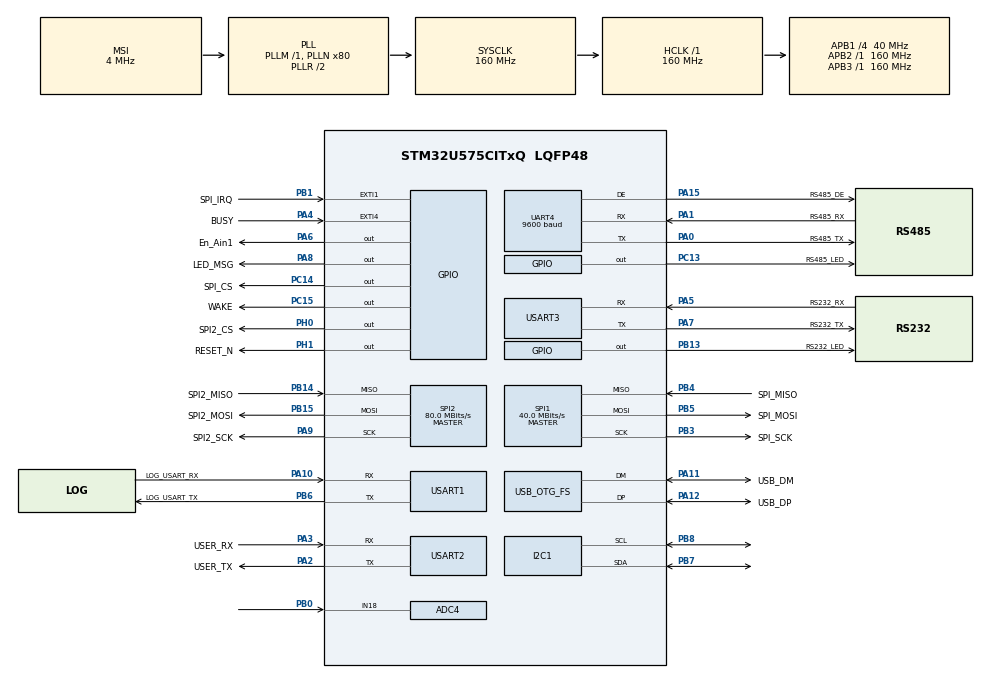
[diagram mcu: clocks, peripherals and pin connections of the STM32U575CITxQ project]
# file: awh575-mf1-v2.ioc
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ADC1.Channel-0\#ChannelRegularConversion=ADC_CHANNEL_TEMPSENSOR
ADC1.ContinuousConvMode=ENABLE
ADC1.EnableAnalogWatchDog1=false
ADC1.EnableRegularConversion=ENABLE
ADC1.MonitoredBy-0\#ChannelRegularConversion=__NULL
ADC1.NbrOfConversion=1
ADC1.NbrOfConversionFlag=1
ADC1.OffsetNumber-0\#ChannelRegularConversion=ADC_OFFSET_NONE
ADC1.Rank-0\#ChannelRegularConversion=1
ADC1.SamplingTime-0\#ChannelRegularConversion=ADC_SAMPLETIME_36CYCLES
ADC1.master=1
ADC4.ContinuousConvMode=ENABLE
ADC4.EOCSelection=ADC_EOC_SINGLE_CONV
ADC4.NbrOfConversion=1
ADC4.NbrOfConversionFlag=0
ADC4.SamplingTimeCommon1=ADC4_SAMPLETIME_39CYCLES_5
ADC4.SamplingTimeCommon2=ADC4_SAMPLETIME_39CYCLES_5
ADC4.SelectedChannel=ADC_CHANNEL_18
CORTEX_M33_NS.userName=CORTEX_M33
GPDMA1.DESTINC_GPDMACH14=DMA_DINC_INCREMENTED
GPDMA1.DIRECTION_GPDMACH15=DMA_MEMORY_TO_PERIPH
GPDMA1.IPHANDLE_GPDMACH14-SIMPLEREQUEST_GPDMACH14=__NULL
GPDMA1.IPHANDLE_GPDMACH15-SIMPLEREQUEST_GPDMACH15=__NULL
GPDMA1.REQUEST_GPDMACH14=GPDMA1_REQUEST_SPI1_RX
GPDMA1.REQUEST_GPDMACH15=GPDMA1_REQUEST_SPI1_TX
GPDMA1.SRCINC_GPDMACH15=DMA_SINC_INCREMENTED
I2C1.Timing=0x30909DEC
LPTIM1.ClockPrescaler=LPTIM_PRESCALER_DIV4
Mcu.Family=STM32U5
Mcu.Name=STM32U575CITxQ
Mcu.Package=LQFP48
NVIC.ADC1_IRQn=true\:10\:0\:true\:false\:true\:true\:true\:true
NVIC.EXTI1_IRQn=true\:15\:0\:true\:false\:false\:true\:true\:false
NVIC.EXTI4_IRQn=true\:15\:0\:true\:false\:false\:true\:true\:false
NVIC.GPDMA1_Channel14_IRQn=true\:15\:0\:true\:false\:false\:false\:true\:true
NVIC.I2C1_ER_IRQn=true\:0\:0\:false\:false\:true\:true\:true\:true
NVIC.I2C1_EV_IRQn=true\:0\:0\:false\:false\:true\:true\:true\:true
NVIC.LPTIM1_IRQn=true\:0\:0\:false\:false\:false\:true\:true\:true
NVIC.OTG_FS_IRQn=true\:0\:0\:false\:false\:true\:true\:false\:false
NVIC.PriorityGroup=NVIC_PRIORITYGROUP_4
NVIC.SPI1_IRQn=true\:0\:0\:false\:false\:false\:false\:true\:true
NVIC.SPI2_IRQn=true\:0\:0\:false\:false\:true\:true\:true\:true
NVIC.TIM1_UP_IRQn=true\:0\:0\:true\:false\:true\:false\:true\:true
NVIC.TimeBase=TIM1_UP_IRQn
NVIC.TimeBaseIP=TIM1
NVIC.UART4_IRQn=true\:6\:0\:true\:false\:true\:true\:true\:true
NVIC.USART1_IRQn=true\:15\:0\:true\:false\:false\:true\:true\:true
NVIC.USART2_IRQn=true\:10\:0\:true\:false\:true\:true\:true\:true
NVIC.USART3_IRQn=true\:6\:0\:true\:false\:true\:true\:true\:true
PA0.GPIO_Label=RS485_TX
PA0.Mode=Asynchronous
PA0.Signal=UART4_TX
PA1.GPIO_Label=RS485_RX
PA1.Mode=Asynchronous
PA1.Signal=UART4_RX
PA10.GPIO_Label=LOG_USART_RX
PA10.GPIO_PuPd=GPIO_PULLDOWN
PA10.GPIO_Speed=GPIO_SPEED_FREQ_VERY_HIGH
PA10.Mode=Asynchronous
PA10.Signal=USART1_RX
PA11.GPIO_Label=USB_DM
PA11.Mode=Device_Only
PA11.Signal=USB_OTG_FS_DM
PA12.GPIO_Label=USB_DP
PA12.Mode=Device_Only
PA12.Signal=USB_OTG_FS_DP
PA13\ (JTMS/SWDIO).GPIO_Label=SWDIO
PA13\ (JTMS/SWDIO).Mode=Serial_Wire
PA13\ (JTMS/SWDIO).Signal=DEBUG_JTMS-SWDIO
PA14\ (JTCK/SWCLK).GPIO_Label=SWCLK
PA14\ (JTCK/SWCLK).Mode=Serial_Wire
PA14\ (JTCK/SWCLK).Signal=DEBUG_JTCK-SWCLK
PA15\ (JTDI).GPIO_Label=RS485_DE
PA15\ (JTDI).Mode=Hardware Flow Control (RS485)
PA15\ (JTDI).Signal=UART4_DE
PA2.GPIO_Label=USER_TX
PA2.Mode=Asynchronous
PA2.Signal=USART2_TX
PA3.GPIO_Label=USER_RX
PA3.Mode=Asynchronous
PA3.Signal=USART2_RX
PA4.GPIO_Label=BUSY
PA4.GPIO_PuPd=GPIO_PULLDOWN
PA4.Signal=GPXTI4
PA5.GPIO_Label=RS232_RX
PA5.Mode=Asynchronous
PA5.Signal=USART3_RX
PA6.GPIO_Label=En_Ain1
PA6.Signal=GPIO_Output
PA7.GPIO_Label=RS232_TX
PA7.Mode=Asynchronous
PA7.Signal=USART3_TX
PA8.GPIO_Label=LED_MSG
PA8.GPIO_PuPd=GPIO_NOPULL
PA8.PinState=GPIO_PIN_SET
PA8.Signal=GPIO_Output
PA9.GPIO_Label=SPI2_SCK
PA9.Mode=Full_Duplex_Master
PA9.Signal=SPI2_SCK
PB0.Mode=IN18
PB0.Signal=ADC4_IN18
PB1.GPIO_Label=SPI_IRQ
PB1.GPIO_ModeDefaultEXTI=GPIO_MODE_IT_FALLING
PB1.Signal=GPXTI1
PB13.GPIO_Label=RS232_LED
PB13.PinState=GPIO_PIN_SET
PB13.Signal=GPIO_Output
PB14.GPIO_Label=SPI2_MISO
PB14.Mode=Full_Duplex_Master
PB14.Signal=SPI2_MISO
PB15.GPIO_Label=SPI2_MOSI
PB15.Mode=Full_Duplex_Master
PB15.Signal=SPI2_MOSI
PB3\ (JTDO/TRACESWO).GPIO_Label=SPI_SCK
PB3\ (JTDO/TRACESWO).GPIO_Speed=GPIO_SPEED_FREQ_VERY_HIGH
PB3\ (JTDO/TRACESWO).Mode=Full_Duplex_Master
PB3\ (JTDO/TRACESWO).Signal=SPI1_SCK
PB4\ (NJTRST).GPIO_Label=SPI_MISO
PB4\ (NJTRST).GPIO_PuPd=GPIO_NOPULL
PB4\ (NJTRST).GPIO_Speed=GPIO_SPEED_FREQ_VERY_HIGH
PB4\ (NJTRST).Mode=Full_Duplex_Master
PB4\ (NJTRST).Signal=SPI1_MISO
PB5.GPIO_Label=SPI_MOSI
PB5.GPIO_Speed=GPIO_SPEED_FREQ_VERY_HIGH
PB5.Mode=Full_Duplex_Master
PB5.Signal=SPI1_MOSI
PB6.GPIO_FM6=__NULL
PB6.GPIO_Label=LOG_USART_TX
PB6.GPIO_PuPd=GPIO_PULLDOWN
PB6.GPIO_Speed=GPIO_SPEED_FREQ_VERY_HIGH
PB6.Mode=Asynchronous
PB6.Signal=USART1_TX
PB7.Mode=I2C
PB7.Signal=I2C1_SDA
PB8.Mode=I2C
PB8.Signal=I2C1_SCL
PC13.GPIO_Label=RS485_LED
PC13.PinState=GPIO_PIN_SET
PC13.Signal=GPIO_Output
PC14-OSC32_IN\ (PC14).GPIO_Label=SPI_CS
PC14-OSC32_IN\ (PC14).Signal=GPIO_Output
PC15-OSC32_OUT\ (PC15).GPIO_Label=WAKE
PC15-OSC32_OUT\ (PC15).Signal=GPIO_Output
PH0-OSC_IN\ (PH0).GPIO_Label=SPI2_CS
PH0-OSC_IN\ (PH0).Signal=GPIO_Output
PH1-OSC_OUT\ (PH1).GPIO_Label=RESET_N
PH1-OSC_OUT\ (PH1).Signal=GPIO_Output
PWR.PowerMode=PWR_SMPS_SUPPLY
ProjectManager.HeapSize=0x200
ProjectManager.StackSize=0x400
ProjectManager.TargetToolchain=Makefile
RCC.ADCFreq_Value=16000000
RCC.AHBFreq_Value=160000000
RCC.APB1CLKDivider=RCC_HCLK_DIV4
RCC.APB1Freq_Value=40000000
RCC.APB1TimFreq_Value=80000000
RCC.APB2Freq_Value=160000000
RCC.APB2TimFreq_Value=160000000
RCC.APB3Freq_Value=160000000
RCC.CortexFreq_Value=160000000
RCC.DACCLockSelectionVirtual=RCC_DAC1CLKSOURCE_LSI
RCC.EPOD_VALUE=4000000
RCC.HCLKFreq_Value=160000000
RCC.HSE_VALUE=16000000
RCC.HSI48_VALUE=48000000
RCC.HSI_VALUE=16000000
RCC.I2C1CLockSelection=RCC_I2C1CLKSOURCE_SYSCLK
RCC.LPTIM1CLockSelectionVirtual=RCC_LPTIM1CLKSOURCE_LSI
RCC.LSE_VALUE=32768
RCC.LSIDIV_VALUE=32000
RCC.MSI_VALUE=4000000
RCC.PLLN=80
RCC.SYSCLKFreq_VALUE=160000000
RCC.SYSCLKSource=RCC_SYSCLKSOURCE_PLLCLK
RCC.USBFreq_Value=48000000
RCC.VCOOutputFreq_Value=320000000
SPI1.BaudRatePrescaler=SPI_BAUDRATEPRESCALER_4
SPI1.CalculateBaudRate=40.0 MBits/s
SPI1.DataSize=SPI_DATASIZE_8BIT
SPI1.Direction=SPI_DIRECTION_2LINES
SPI1.MasterKeepIOState=SPI_MASTER_KEEP_IO_STATE_ENABLE
SPI1.Mode=SPI_MODE_MASTER
SPI1.NSSPMode=SPI_NSS_PULSE_DISABLE
SPI1.VirtualType=VM_MASTER
SPI2.CalculateBaudRate=80.0 MBits/s
SPI2.Direction=SPI_DIRECTION_2LINES
SPI2.Mode=SPI_MODE_MASTER
SPI2.VirtualType=VM_MASTER
UART4.BaudRate=9600
USART1.VirtualMode-Asynchronous=VM_ASYNC
USART2.VirtualMode-Asynchronous=VM_ASYNC
USART3.VirtualMode-Asynchronous=VM_ASYNC
USB_OTG_FS.VirtualMode=Device_Only
VP_ADC1_TempSens_Input.Mode=IN-TempSens
VP_GPDMA1_VS_GPDMACH14.Mode=SIMPLEREQUEST_GPDMACH14
VP_GPDMA1_VS_GPDMACH15.Mode=SIMPLEREQUEST_GPDMACH15
VP_ICACHE_VS_ICACHE.Mode=DefaultMode
VP_LPBAMQUEUE_VS_QUEUE.Mode=QUEUEMODE
VP_LPBAM_VS_SIG1.Mode=SmartRun
VP_LPBAM_VS_SIG4.Mode=LPDMA1
VP_LPTIM1_VS_LPTIM_counterModeInternalClock.Mode=Counts__internal_clock_event_00
VP_MEMORYMAP_VS_MEMORYMAP.Mode=CurAppReg
VP_PWR_VS_DBSignals.Mode=DisableDeadBatterySignals
VP_PWR_VS_LPOM.Mode=PowerOptimisation
VP_PWR_VS_SECSignals.Mode=Security/Privilege
VP_PWR_Vdda.Mode=isolationVdda
VP_RNG_VS_RNG.Mode=RNG_Activate
VP_RTC_VS_RTC_Activate.Mode=RTC_Enabled
VP_SYS_VS_tim1.Mode=TIM1
board=custom

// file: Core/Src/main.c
/* USER CODE BEGIN Header */
/**
  ******************************************************************************
  * @file           : main.c
  * @brief          : Main program body
  ******************************************************************************
  * @attention
  *
  * Copyright (c) 2022 STMicroelectronics.
  * All rights reserved.
  *
  * This software is licensed under terms that can be found in the LICENSE file
  * in the root directory of this software component.
  * If no LICENSE file comes with this software, it is provided AS-IS.
  *
  ******************************************************************************
  */
/* USER CODE END Header */
#include "main.h"

/* USER CODE BEGIN Includes */
#include "mmosal.h"

#ifdef CFG_ENABLE
#include "CLI-commands.h"
#endif
/* USER CODE END Includes */

/* USER CODE BEGIN PD */
#ifndef SWO_GPIO_Port
#define SWO_GPIO_Port   GPIOB
#endif
#ifndef SWO_Pin
#define SWO_Pin         LL_GPIO_PIN_3
#endif
/* USER CODE END PD */

ADC_HandleTypeDef hadc1;
ADC_HandleTypeDef hadc4;

I2C_HandleTypeDef hi2c1;

RNG_HandleTypeDef hrng;

SPI_HandleTypeDef hspi2;

UART_HandleTypeDef huart4;
UART_HandleTypeDef huart2;
UART_HandleTypeDef huart3;

PCD_HandleTypeDef hpcd_USB_OTG_FS;

/* USER CODE BEGIN PV */
#ifdef ENABLE_MODBUS
UART_HandleTypeDef *pta_UART[MODBUS_NUM] = {
	&huart4, // RS-485
	&huart3, // RS-232
};
#endif
/* USER CODE END PV */

void SystemClock_Config(void);
static void SystemPower_Config(void);
static void MX_GPIO_Init(void);
static void MX_GPDMA1_Init(void);
static void MX_SPI1_Init(void);
static void MX_USART1_UART_Init(void);
static void MX_ADC1_Init(void);
static void MX_ICACHE_Init(void);
static void MX_RNG_Init(void);
static void MX_USART2_UART_Init(void);
static void MX_ADC4_Init(void);
static void MX_I2C1_Init(void);
static void MX_SPI2_Init(void);
static void MX_UART4_Init(void);
static void MX_USART3_UART_Init(void);
static void MX_USB_OTG_FS_PCD_Init(void);
static void MX_LPTIM1_Init(void);
static void MX_RTC_Init(void);
/* USER CODE BEGIN PFP */
#ifdef CFG_ENABLE
static void MODBUS_UART4_Init(void);
static void MODBUS_USART3_UART_Init(void);
#endif
void app_init(void);
/* USER CODE END PFP */

int main(void)
{

  /* MCU Configuration--------------------------------------------------------*/

  /* Reset of all peripherals, Initializes the Flash interface and the Systick. */
  HAL_Init();

  /* Configure the System Power */
  SystemPower_Config();

  /* Configure the system clock */
  SystemClock_Config();

  /* Initialize all configured peripherals */
  MX_GPIO_Init();
  MX_GPDMA1_Init();
  MX_SPI1_Init();
  MX_USART1_UART_Init();
  MX_ADC1_Init();
  MX_ICACHE_Init();
  MX_RNG_Init();
  MX_USART2_UART_Init();
  MX_ADC4_Init();
  MX_I2C1_Init();
  MX_SPI2_Init();
  MX_LPTIM1_Init();
  MX_RTC_Init();
  /* USER CODE BEGIN 2 */
#ifdef CFG_ENABLE
  MODBUS_UART4_Init();
  MODBUS_USART3_UART_Init();
#else
  MX_UART4_Init();
  MX_USART3_UART_Init();
#endif
  MX_USB_OTG_FS_PCD_Init();

  printf("%cc",0x1b);

#if defined(ENABLE_DEBUG_IN_STOP_MODE) && ENABLE_DEBUG_IN_STOP_MODE
  LL_DBGMCU_EnableDBGStopMode();
  printf("\nNote: This firmware has been built with debug in stop mode enabled.\n");
  printf("This will impact power consumption and should be disabled for production firmware.\n");
#endif
  mmosal_main(app_init);
  /* USER CODE END 2 */

  /* Infinite loop */
  while (1)
  {

  }
}

void SystemClock_Config(void)
{
  RCC_OscInitTypeDef RCC_OscInitStruct = {0};
  RCC_ClkInitTypeDef RCC_ClkInitStruct = {0};

  /** Configure the main internal regulator output voltage
  */
  if (HAL_PWREx_ControlVoltageScaling(PWR_REGULATOR_VOLTAGE_SCALE1) != HAL_OK)
  {
    Error_Handler();
  }

  /** Initializes the CPU, AHB and APB buses clocks
  */
  RCC_OscInitStruct.OscillatorType = RCC_OSCILLATORTYPE_HSI48|RCC_OSCILLATORTYPE_HSI
                              |RCC_OSCILLATORTYPE_LSI|RCC_OSCILLATORTYPE_MSI;
  RCC_OscInitStruct.HSIState = RCC_HSI_ON;
  RCC_OscInitStruct.HSI48State = RCC_HSI48_ON;
  RCC_OscInitStruct.HSICalibrationValue = RCC_HSICALIBRATION_DEFAULT;
  RCC_OscInitStruct.LSIState = RCC_LSI_ON;
  RCC_OscInitStruct.MSIState = RCC_MSI_ON;
  RCC_OscInitStruct.MSICalibrationValue = RCC_MSICALIBRATION_DEFAULT;
  RCC_OscInitStruct.MSIClockRange = RCC_MSIRANGE_4;
  RCC_OscInitStruct.LSIDiv = RCC_LSI_DIV1;
  RCC_OscInitStruct.PLL.PLLState = RCC_PLL_ON;
  RCC_OscInitStruct.PLL.PLLSource = RCC_PLLSOURCE_MSI;
  RCC_OscInitStruct.PLL.PLLMBOOST = RCC_PLLMBOOST_DIV1;
  RCC_OscInitStruct.PLL.PLLM = 1;
  RCC_OscInitStruct.PLL.PLLN = 80;
  RCC_OscInitStruct.PLL.PLLP = 2;
  RCC_OscInitStruct.PLL.PLLQ = 2;
  RCC_OscInitStruct.PLL.PLLR = 2;
  RCC_OscInitStruct.PLL.PLLRGE = RCC_PLLVCIRANGE_0;
  RCC_OscInitStruct.PLL.PLLFRACN = 0;
  if (HAL_RCC_OscConfig(&RCC_OscInitStruct) != HAL_OK)
  {
    Error_Handler();
  }

  /** Initializes the CPU, AHB and APB buses clocks
  */
  RCC_ClkInitStruct.ClockType = RCC_CLOCKTYPE_HCLK|RCC_CLOCKTYPE_SYSCLK
                              |RCC_CLOCKTYPE_PCLK1|RCC_CLOCKTYPE_PCLK2
                              |RCC_CLOCKTYPE_PCLK3;
  RCC_ClkInitStruct.SYSCLKSource = RCC_SYSCLKSOURCE_PLLCLK;
  RCC_ClkInitStruct.AHBCLKDivider = RCC_SYSCLK_DIV1;
  RCC_ClkInitStruct.APB1CLKDivider = RCC_HCLK_DIV4;
  RCC_ClkInitStruct.APB2CLKDivider = RCC_HCLK_DIV1;
  RCC_ClkInitStruct.APB3CLKDivider = RCC_HCLK_DIV1;

  if (HAL_RCC_ClockConfig(&RCC_ClkInitStruct, FLASH_LATENCY_4) != HAL_OK)
  {
    Error_Handler();
  }
}

/**
  * @brief Power Configuration
  * @retval None
  */
static void SystemPower_Config(void)
{

  /*
   * Disable the internal Pull-Up in Dead Battery pins of UCPD peripheral
   */
  HAL_PWREx_DisableUCPDDeadBattery();

  /*
   * Switch to SMPS regulator instead of LDO
   */
  if (HAL_PWREx_ConfigSupply(PWR_SMPS_SUPPLY) != HAL_OK)
  {
    Error_Handler();
  }
}

static void MX_ADC1_Init(void)
{

  ADC_ChannelConfTypeDef sConfig = {0};

  /** Common config
  */
  hadc1.Instance = ADC1;
  hadc1.Init.ClockPrescaler = ADC_CLOCK_ASYNC_DIV1;
  hadc1.Init.Resolution = ADC_RESOLUTION_14B;
  hadc1.Init.GainCompensation = 0;
  hadc1.Init.ScanConvMode = ADC_SCAN_DISABLE;
  hadc1.Init.EOCSelection = ADC_EOC_SINGLE_CONV;
  hadc1.Init.LowPowerAutoWait = DISABLE;
  hadc1.Init.ContinuousConvMode = ENABLE;
  hadc1.Init.NbrOfConversion = 1;
  hadc1.Init.DiscontinuousConvMode = DISABLE;
  hadc1.Init.ExternalTrigConv = ADC_SOFTWARE_START;
  hadc1.Init.ExternalTrigConvEdge = ADC_EXTERNALTRIGCONVEDGE_NONE;
  hadc1.Init.DMAContinuousRequests = DISABLE;
  hadc1.Init.TriggerFrequencyMode = ADC_TRIGGER_FREQ_HIGH;
  hadc1.Init.Overrun = ADC_OVR_DATA_PRESERVED;
  hadc1.Init.LeftBitShift = ADC_LEFTBITSHIFT_NONE;
  hadc1.Init.ConversionDataManagement = ADC_CONVERSIONDATA_DR;
  hadc1.Init.OversamplingMode = DISABLE;
  if (HAL_ADC_Init(&hadc1) != HAL_OK)
  {
    Error_Handler();
  }

  /** Configure Regular Channel
  */
  sConfig.Channel = ADC_CHANNEL_TEMPSENSOR;
  sConfig.Rank = ADC_REGULAR_RANK_1;
  sConfig.SamplingTime = ADC_SAMPLETIME_36CYCLES;
  sConfig.SingleDiff = ADC_SINGLE_ENDED;
  sConfig.OffsetNumber = ADC_OFFSET_NONE;
  sConfig.Offset = 0;
  if (HAL_ADC_ConfigChannel(&hadc1, &sConfig) != HAL_OK)
  {
    Error_Handler();
  }

}

static void MX_ADC4_Init(void)
{

  ADC_ChannelConfTypeDef sConfig = {0};

  /** Common config
  */
  hadc4.Instance = ADC4;
  hadc4.Init.ClockPrescaler = ADC_CLOCK_ASYNC_DIV1;
  hadc4.Init.Resolution = ADC_RESOLUTION_12B;
  hadc4.Init.DataAlign = ADC_DATAALIGN_RIGHT;
  hadc4.Init.ScanConvMode = ADC_SCAN_DIRECTION_FORWARD;
  hadc4.Init.EOCSelection = ADC_EOC_SINGLE_CONV;
  hadc4.Init.LowPowerAutoPowerOff = ADC_LOW_POWER_NONE;
  hadc4.Init.LowPowerAutoWait = DISABLE;
  hadc4.Init.ContinuousConvMode = ENABLE;
  hadc4.Init.NbrOfConversion = 1;
  hadc4.Init.ExternalTrigConv = ADC_SOFTWARE_START;
  hadc4.Init.ExternalTrigConvEdge = ADC_EXTERNALTRIGCONVEDGE_NONE;
  hadc4.Init.DMAContinuousRequests = DISABLE;
  hadc4.Init.TriggerFrequencyMode = ADC_TRIGGER_FREQ_LOW;
  hadc4.Init.Overrun = ADC_OVR_DATA_PRESERVED;
  hadc4.Init.SamplingTimeCommon1 = ADC4_SAMPLETIME_39CYCLES_5;
  hadc4.Init.SamplingTimeCommon2 = ADC4_SAMPLETIME_39CYCLES_5;
  hadc4.Init.OversamplingMode = DISABLE;
  if (HAL_ADC_Init(&hadc4) != HAL_OK)
  {
    Error_Handler();
  }

  /** Configure Regular Channel
  */
  sConfig.Channel = ADC_CHANNEL_18;
  sConfig.Rank = ADC4_RANK_CHANNEL_NUMBER;
  sConfig.SamplingTime = ADC4_SAMPLINGTIME_COMMON_1;
  sConfig.OffsetNumber = ADC_OFFSET_NONE;
  sConfig.Offset = 0;
  if (HAL_ADC_ConfigChannel(&hadc4, &sConfig) != HAL_OK)
  {
    Error_Handler();
  }
  /* USER CODE BEGIN ADC4_Init 2 */
    LL_ADC_SetCommonPathInternalChAdd((ADC_Common_TypeDef *)ADC4_BASE, LL_ADC_PATH_INTERNAL_TEMPSENSOR);
    if (HAL_ADCEx_Calibration_Start(&hadc4, 1, 0) != HAL_OK)
    {
        printf("ADC4 Calibration fail\r\n");
    }
    LL_ADC_SetCommonPathInternalChRem((ADC_Common_TypeDef *)ADC4_BASE, LL_ADC_PATH_INTERNAL_TEMPSENSOR);
  /* USER CODE END ADC4_Init 2 */

}

static void MX_GPDMA1_Init(void)
{

  /* Peripheral clock enable */
  LL_AHB1_GRP1_EnableClock(LL_AHB1_GRP1_PERIPH_GPDMA1);

  /* GPDMA1 interrupt Init */
  NVIC_SetPriority(GPDMA1_Channel14_IRQn, NVIC_EncodePriority(NVIC_GetPriorityGrouping(),15, 0));
  NVIC_EnableIRQ(GPDMA1_Channel14_IRQn);

}

static void MX_I2C1_Init(void)
{

  hi2c1.Instance = I2C1;
  hi2c1.Init.Timing = 0x30909DEC;
  hi2c1.Init.OwnAddress1 = 0;
  hi2c1.Init.AddressingMode = I2C_ADDRESSINGMODE_7BIT;
  hi2c1.Init.DualAddressMode = I2C_DUALADDRESS_DISABLE;
  hi2c1.Init.OwnAddress2 = 0;
  hi2c1.Init.OwnAddress2Masks = I2C_OA2_NOMASK;
  hi2c1.Init.GeneralCallMode = I2C_GENERALCALL_DISABLE;
  hi2c1.Init.NoStretchMode = I2C_NOSTRETCH_DISABLE;
  if (HAL_I2C_Init(&hi2c1) != HAL_OK)
  {
    Error_Handler();
  }

  /** Configure Analogue filter
  */
  if (HAL_I2CEx_ConfigAnalogFilter(&hi2c1, I2C_ANALOGFILTER_ENABLE) != HAL_OK)
  {
    Error_Handler();
  }

  /** Configure Digital filter
  */
  if (HAL_I2CEx_ConfigDigitalFilter(&hi2c1, 0) != HAL_OK)
  {
    Error_Handler();
  }

}

static void MX_ICACHE_Init(void)
{

  /** Enable instruction cache (default 2-ways set associative cache)
  */
  if (HAL_ICACHE_Enable() != HAL_OK)
  {
    Error_Handler();
  }

}

static void MX_LPTIM1_Init(void)
{

  RCC_PeriphCLKInitTypeDef PeriphClkInit = {0};

  /** Initializes the peripherals clock
  */
  PeriphClkInit.PeriphClockSelection = RCC_PERIPHCLK_LPTIM1;
  PeriphClkInit.Lptim1ClockSelection = RCC_LPTIM1CLKSOURCE_LSI;
  if (HAL_RCCEx_PeriphCLKConfig(&PeriphClkInit) != HAL_OK)
  {
    Error_Handler();
  }

  /* Peripheral clock enable */
  LL_APB3_GRP1_EnableClock(LL_APB3_GRP1_PERIPH_LPTIM1);

  /* LPTIM1 interrupt Init */
  NVIC_SetPriority(LPTIM1_IRQn, NVIC_EncodePriority(NVIC_GetPriorityGrouping(),0, 0));
  NVIC_EnableIRQ(LPTIM1_IRQn);

  LL_LPTIM_Enable(LPTIM1);
  LL_LPTIM_ClearFlag_REPOK(LPTIM1);
  LL_LPTIM_SetRepetition(LPTIM1, 0);

   /* Wait till REPOK Flag is ready */
  while(!LL_LPTIM_IsActiveFlag_REPOK(LPTIM1))
  {
  }
  LL_LPTIM_ClearFlag_ARROK(LPTIM1);
  LL_LPTIM_SetAutoReload(LPTIM1, 65535);

   /* Wait till ARROK Flag is ready */
  while(!LL_LPTIM_IsActiveFlag_ARROK(LPTIM1))
  {
  }
  LL_LPTIM_Disable(LPTIM1);
  LL_LPTIM_SetClockSource(LPTIM1, LL_LPTIM_CLK_SOURCE_INTERNAL);
  LL_LPTIM_SetPrescaler(LPTIM1, LL_LPTIM_PRESCALER_DIV4);
  LL_LPTIM_SetUpdateMode(LPTIM1, LL_LPTIM_UPDATE_MODE_IMMEDIATE);
  LL_LPTIM_SetCounterMode(LPTIM1, LL_LPTIM_COUNTER_MODE_INTERNAL);
  LL_LPTIM_TrigSw(LPTIM1);
  LL_LPTIM_SetInput1Src(LPTIM1, LL_LPTIM_INPUT1_SRC_GPIO);
  LL_LPTIM_SetInput2Src(LPTIM1, LL_LPTIM_INPUT2_SRC_GPIO);
  /* USER CODE BEGIN LPTIM1_Init 2 */

  /* We enable the LPTIM in continuous mode and leave it running. We then use the compare match
   * functionality for tracking time whilst in deep sleep. This avoids having to wait the
   * synchronisation delay (3 cycles). */
  LL_LPTIM_Enable(LPTIM1);

  LL_LPTIM_ClearFlag_DIEROK(LPTIM1);
  LL_LPTIM_EnableIT_CC1(LPTIM1);
  while (!LL_LPTIM_IsActiveFlag_DIEROK(LPTIM1))
  {
  }
  LL_LPTIM_StartCounter(LPTIM1, LL_LPTIM_OPERATING_MODE_CONTINUOUS);

  /* Enable LPTIM1 autonomous mode to wake up from stop modes. */
  LL_SRDAMR_GRP1_EnableAutonomousClock(LL_SRDAMR_GRP1_PERIPH_LPTIM1AMEN);

  /* USER CODE END LPTIM1_Init 2 */

}

static void MX_RNG_Init(void)
{

  hrng.Instance = RNG;
  hrng.Init.ClockErrorDetection = RNG_CED_ENABLE;
  if (HAL_RNG_Init(&hrng) != HAL_OK)
  {
    Error_Handler();
  }

}

static void MX_RTC_Init(void)
{

  LL_RTC_InitTypeDef RTC_InitStruct = {0};

  RCC_PeriphCLKInitTypeDef PeriphClkInit = {0};

  /** Initializes the peripherals clock
  */
  PeriphClkInit.PeriphClockSelection = RCC_PERIPHCLK_RTC;
  PeriphClkInit.RTCClockSelection = RCC_RTCCLKSOURCE_LSI;
  if (HAL_RCCEx_PeriphCLKConfig(&PeriphClkInit) != HAL_OK)
  {
    Error_Handler();
  }

  /* Peripheral clock enable */
  LL_RCC_EnableRTC();
  LL_APB3_GRP1_EnableClock(LL_APB3_GRP1_PERIPH_RTCAPB);
  LL_SRDAMR_GRP1_EnableAutonomousClock(LL_SRDAMR_GRP1_PERIPH_RTCAPBAMEN);

  RTC_InitStruct.HourFormat = LL_RTC_HOURFORMAT_24HOUR;
  RTC_InitStruct.AsynchPrescaler = 127;
  RTC_InitStruct.SynchPrescaler = 255;
  LL_RTC_Init(RTC, &RTC_InitStruct);
  LL_RTC_SetBackupRegisterPrivilege(RTC, LL_RTC_PRIVILEGE_BKUP_ZONE_NONE);
  LL_RTC_SetBackupRegProtection(RTC, LL_RTC_BKP_DR0, LL_RTC_BKP_DR0);
  LL_RTC_SetRtcPrivilege(RTC, LL_RTC_PRIVILEGE_FULL_NO);
  /* USER CODE BEGIN RTC_Init 2 */

  /*Initialize RTC and set the Time and Date*/

  if(LL_RTC_BKP_GetRegister(RTC,LL_RTC_BKP_DR0) != 0x32F2)
  {
    LL_RTC_TimeTypeDef RTC_TimeStruct = {0};
    LL_RTC_DateTypeDef RTC_DateStruct = {0};

    RTC_TimeStruct.Hours = 0x0;
    RTC_TimeStruct.Minutes = 0x0;
    RTC_TimeStruct.Seconds = 0x0;
    LL_RTC_TIME_Init(RTC, LL_RTC_FORMAT_BCD, &RTC_TimeStruct);

    RTC_DateStruct.WeekDay = 5;
    RTC_DateStruct.Month = 0;
    RTC_DateStruct.Day = 0x1;
    RTC_DateStruct.Year = 0x0;
    LL_RTC_DATE_Init(RTC, LL_RTC_FORMAT_BCD, &RTC_DateStruct);

    LL_RTC_BKP_SetRegister(RTC,LL_RTC_BKP_DR0,0x32F2);
  }

  /* USER CODE END RTC_Init 2 */

}

static void MX_SPI1_Init(void)
{

  LL_SPI_InitTypeDef SPI_InitStruct = {0};

  LL_GPIO_InitTypeDef GPIO_InitStruct = {0};
  LL_DMA_InitTypeDef DMA_InitStruct = {0};
  RCC_PeriphCLKInitTypeDef PeriphClkInit = {0};

  /** Initializes the peripherals clock
  */
  PeriphClkInit.PeriphClockSelection = RCC_PERIPHCLK_SPI1;
  PeriphClkInit.Spi1ClockSelection = RCC_SPI1CLKSOURCE_SYSCLK;
  if (HAL_RCCEx_PeriphCLKConfig(&PeriphClkInit) != HAL_OK)
  {
    Error_Handler();
  }

  /* Peripheral clock enable */
  LL_APB2_GRP1_EnableClock(LL_APB2_GRP1_PERIPH_SPI1);

  LL_AHB2_GRP1_EnableClock(LL_AHB2_GRP1_PERIPH_GPIOB);
  /**SPI1 GPIO Configuration
  PB3 (JTDO/TRACESWO)   ------> SPI1_SCK
  PB4 (NJTRST)   ------> SPI1_MISO
  PB5   ------> SPI1_MOSI
  */
  GPIO_InitStruct.Pin = SPI_SCK_Pin|SPI_MISO_Pin|SPI_MOSI_Pin;
  GPIO_InitStruct.Mode = LL_GPIO_MODE_ALTERNATE;
  GPIO_InitStruct.Speed = LL_GPIO_SPEED_FREQ_VERY_HIGH;
  GPIO_InitStruct.OutputType = LL_GPIO_OUTPUT_PUSHPULL;
  GPIO_InitStruct.Pull = LL_GPIO_PULL_NO;
  GPIO_InitStruct.Alternate = LL_GPIO_AF_5;
  LL_GPIO_Init(GPIOB, &GPIO_InitStruct);

  /* SPI1 DMA Init */

  /* GPDMA1_REQUEST_SPI1_TX Init */
  DMA_InitStruct.SrcAddress = 0x00000000U;
  DMA_InitStruct.DestAddress = 0x00000000U;
  DMA_InitStruct.Direction = LL_DMA_DIRECTION_MEMORY_TO_PERIPH;
  DMA_InitStruct.BlkHWRequest = LL_DMA_HWREQUEST_SINGLEBURST;
  DMA_InitStruct.DataAlignment = LL_DMA_DATA_ALIGN_ZEROPADD;
  DMA_InitStruct.SrcBurstLength = 1;
  DMA_InitStruct.DestBurstLength = 1;
  DMA_InitStruct.SrcDataWidth = LL_DMA_SRC_DATAWIDTH_BYTE;
  DMA_InitStruct.DestDataWidth = LL_DMA_DEST_DATAWIDTH_BYTE;
  DMA_InitStruct.SrcIncMode = LL_DMA_SRC_INCREMENT;
  DMA_InitStruct.DestIncMode = LL_DMA_DEST_FIXED;
  DMA_InitStruct.Priority = LL_DMA_LOW_PRIORITY_LOW_WEIGHT;
  DMA_InitStruct.BlkDataLength = 0x00000000U;
  DMA_InitStruct.BlkRptCount = 0x00000000U;
  DMA_InitStruct.TriggerMode = LL_DMA_TRIGM_BLK_TRANSFER;
  DMA_InitStruct.TriggerPolarity = LL_DMA_TRIG_POLARITY_MASKED;
  DMA_InitStruct.TriggerSelection = 0x00000000U;
  DMA_InitStruct.Request = LL_GPDMA1_REQUEST_SPI1_TX;
  DMA_InitStruct.TransferEventMode = LL_DMA_TCEM_BLK_TRANSFER;
  DMA_InitStruct.DestHWordExchange = LL_DMA_DEST_HALFWORD_PRESERVE;
  DMA_InitStruct.SrcByteExchange = LL_DMA_SRC_BYTE_PRESERVE;
  DMA_InitStruct.DestByteExchange = LL_DMA_DEST_BYTE_PRESERVE;
  DMA_InitStruct.SrcAllocatedPort = LL_DMA_SRC_ALLOCATED_PORT0;
  DMA_InitStruct.DestAllocatedPort = LL_DMA_DEST_ALLOCATED_PORT0;
  DMA_InitStruct.LinkAllocatedPort = LL_DMA_LINK_ALLOCATED_PORT1;
  DMA_InitStruct.LinkStepMode = LL_DMA_LSM_FULL_EXECUTION;
  DMA_InitStruct.SrcAddrUpdateMode = LL_DMA_BURST_SRC_ADDR_INCREMENT;
  DMA_InitStruct.DestAddrUpdateMode = LL_DMA_BURST_DEST_ADDR_INCREMENT;
  DMA_InitStruct.DestAddrOffset = 0x00000000U;
  DMA_InitStruct.SrcAddrOffset = 0x00000000U;
  DMA_InitStruct.BlkRptSrcAddrUpdateMode = LL_DMA_BURST_SRC_ADDR_INCREMENT;
  DMA_InitStruct.BlkRptDestAddrUpdateMode = LL_DMA_BURST_DEST_ADDR_INCREMENT;
  DMA_InitStruct.BlkRptSrcAddrOffset = 0x00000000U;
  DMA_InitStruct.BlkRptDestAddrOffset = 0x00000000U;
  DMA_InitStruct.LinkedListBaseAddr = 0x00000000U;
  DMA_InitStruct.LinkedListAddrOffset = 0x00000000U;
  LL_DMA_Init(GPDMA1, LL_DMA_CHANNEL_15, &DMA_InitStruct);

  /* GPDMA1_REQUEST_SPI1_RX Init */
  DMA_InitStruct.SrcAddress = 0x00000000U;
  DMA_InitStruct.DestAddress = 0x00000000U;
  DMA_InitStruct.Direction = LL_DMA_DIRECTION_PERIPH_TO_MEMORY;
  DMA_InitStruct.BlkHWRequest = LL_DMA_HWREQUEST_SINGLEBURST;
  DMA_InitStruct.DataAlignment = LL_DMA_DATA_ALIGN_ZEROPADD;
  DMA_InitStruct.SrcBurstLength = 1;
  DMA_InitStruct.DestBurstLength = 1;
  DMA_InitStruct.SrcDataWidth = LL_DMA_SRC_DATAWIDTH_BYTE;
  DMA_InitStruct.DestDataWidth = LL_DMA_DEST_DATAWIDTH_BYTE;
  DMA_InitStruct.SrcIncMode = LL_DMA_SRC_FIXED;
  DMA_InitStruct.DestIncMode = LL_DMA_DEST_INCREMENT;
  DMA_InitStruct.Priority = LL_DMA_LOW_PRIORITY_LOW_WEIGHT;
  DMA_InitStruct.BlkDataLength = 0x00000000U;
  DMA_InitStruct.BlkRptCount = 0x00000000U;
  DMA_InitStruct.TriggerMode = LL_DMA_TRIGM_BLK_TRANSFER;
  DMA_InitStruct.TriggerPolarity = LL_DMA_TRIG_POLARITY_MASKED;
  DMA_InitStruct.TriggerSelection = 0x00000000U;
  DMA_InitStruct.Request = LL_GPDMA1_REQUEST_SPI1_RX;
  DMA_InitStruct.TransferEventMode = LL_DMA_TCEM_BLK_TRANSFER;
  DMA_InitStruct.DestHWordExchange = LL_DMA_DEST_HALFWORD_PRESERVE;
  DMA_InitStruct.SrcByteExchange = LL_DMA_SRC_BYTE_PRESERVE;
  DMA_InitStruct.DestByteExchange = LL_DMA_DEST_BYTE_PRESERVE;
  DMA_InitStruct.SrcAllocatedPort = LL_DMA_SRC_ALLOCATED_PORT0;
  DMA_InitStruct.DestAllocatedPort = LL_DMA_DEST_ALLOCATED_PORT0;
  DMA_InitStruct.LinkAllocatedPort = LL_DMA_LINK_ALLOCATED_PORT1;
  DMA_InitStruct.LinkStepMode = LL_DMA_LSM_FULL_EXECUTION;
  DMA_InitStruct.SrcAddrUpdateMode = LL_DMA_BURST_SRC_ADDR_INCREMENT;
  DMA_InitStruct.DestAddrUpdateMode = LL_DMA_BURST_DEST_ADDR_INCREMENT;
  DMA_InitStruct.DestAddrOffset = 0x00000000U;
  DMA_InitStruct.SrcAddrOffset = 0x00000000U;
  DMA_InitStruct.BlkRptSrcAddrUpdateMode = LL_DMA_BURST_SRC_ADDR_INCREMENT;
  DMA_InitStruct.BlkRptDestAddrUpdateMode = LL_DMA_BURST_DEST_ADDR_INCREMENT;
  DMA_InitStruct.BlkRptSrcAddrOffset = 0x00000000U;
  DMA_InitStruct.BlkRptDestAddrOffset = 0x00000000U;
  DMA_InitStruct.LinkedListBaseAddr = 0x00000000U;
  DMA_InitStruct.LinkedListAddrOffset = 0x00000000U;
  LL_DMA_Init(GPDMA1, LL_DMA_CHANNEL_14, &DMA_InitStruct);

  /* SPI1 interrupt Init */
  NVIC_SetPriority(SPI1_IRQn, NVIC_EncodePriority(NVIC_GetPriorityGrouping(),0, 0));
  NVIC_EnableIRQ(SPI1_IRQn);

  /* USER CODE BEGIN SPI1_Init 1 */
    LL_DMA_EnableIT_TC(GPDMA1, LL_DMA_CHANNEL_14);
  /* USER CODE END SPI1_Init 1 */
  /* SPI1 parameter configuration*/
  SPI_InitStruct.TransferDirection = LL_SPI_FULL_DUPLEX;
  SPI_InitStruct.Mode = LL_SPI_MODE_MASTER;
  SPI_InitStruct.DataWidth = LL_SPI_DATAWIDTH_8BIT;
  SPI_InitStruct.ClockPolarity = LL_SPI_POLARITY_LOW;
  SPI_InitStruct.ClockPhase = LL_SPI_PHASE_1EDGE;
  SPI_InitStruct.NSS = LL_SPI_NSS_SOFT;
  SPI_InitStruct.BaudRate = LL_SPI_BAUDRATEPRESCALER_DIV4;
  SPI_InitStruct.BitOrder = LL_SPI_MSB_FIRST;
  SPI_InitStruct.CRCCalculation = LL_SPI_CRCCALCULATION_DISABLE;
  SPI_InitStruct.CRCPoly = 0x7;
  LL_SPI_Init(SPI1, &SPI_InitStruct);
  LL_SPI_SetStandard(SPI1, LL_SPI_PROTOCOL_MOTOROLA);
  LL_SPI_DisableNSSPulseMgt(SPI1);

}

static void MX_SPI2_Init(void)
{

  SPI_AutonomousModeConfTypeDef HAL_SPI_AutonomousMode_Cfg_Struct = {0};

  /* SPI2 parameter configuration*/
  hspi2.Instance = SPI2;
  hspi2.Init.Mode = SPI_MODE_MASTER;
  hspi2.Init.Direction = SPI_DIRECTION_2LINES;
  hspi2.Init.DataSize = SPI_DATASIZE_4BIT;
  hspi2.Init.CLKPolarity = SPI_POLARITY_LOW;
  hspi2.Init.CLKPhase = SPI_PHASE_1EDGE;
  hspi2.Init.NSS = SPI_NSS_SOFT;
  hspi2.Init.BaudRatePrescaler = SPI_BAUDRATEPRESCALER_2;
  hspi2.Init.FirstBit = SPI_FIRSTBIT_MSB;
  hspi2.Init.TIMode = SPI_TIMODE_DISABLE;
  hspi2.Init.CRCCalculation = SPI_CRCCALCULATION_DISABLE;
  hspi2.Init.CRCPolynomial = 0x7;
  hspi2.Init.NSSPMode = SPI_NSS_PULSE_ENABLE;
  hspi2.Init.NSSPolarity = SPI_NSS_POLARITY_LOW;
  hspi2.Init.FifoThreshold = SPI_FIFO_THRESHOLD_01DATA;
  hspi2.Init.MasterSSIdleness = SPI_MASTER_SS_IDLENESS_00CYCLE;
  hspi2.Init.MasterInterDataIdleness = SPI_MASTER_INTERDATA_IDLENESS_00CYCLE;
  hspi2.Init.MasterReceiverAutoSusp = SPI_MASTER_RX_AUTOSUSP_DISABLE;
  hspi2.Init.MasterKeepIOState = SPI_MASTER_KEEP_IO_STATE_DISABLE;
  hspi2.Init.IOSwap = SPI_IO_SWAP_DISABLE;
  hspi2.Init.ReadyMasterManagement = SPI_RDY_MASTER_MANAGEMENT_INTERNALLY;
  hspi2.Init.ReadyPolarity = SPI_RDY_POLARITY_HIGH;
  if (HAL_SPI_Init(&hspi2) != HAL_OK)
  {
    Error_Handler();
  }
  HAL_SPI_AutonomousMode_Cfg_Struct.TriggerState = SPI_AUTO_MODE_DISABLE;
  HAL_SPI_AutonomousMode_Cfg_Struct.TriggerSelection = SPI_GRP1_GPDMA_CH0_TCF_TRG;
  HAL_SPI_AutonomousMode_Cfg_Struct.TriggerPolarity = SPI_TRIG_POLARITY_RISING;
  if (HAL_SPIEx_SetConfigAutonomousMode(&hspi2, &HAL_SPI_AutonomousMode_Cfg_Struct) != HAL_OK)
  {
    Error_Handler();
  }

}

static void MX_UART4_Init(void)
{

  huart4.Instance = UART4;
  huart4.Init.BaudRate = 9600;
  huart4.Init.WordLength = UART_WORDLENGTH_8B;
  huart4.Init.StopBits = UART_STOPBITS_1;
  huart4.Init.Parity = UART_PARITY_NONE;
  huart4.Init.Mode = UART_MODE_TX_RX;
  huart4.Init.HwFlowCtl = UART_HWCONTROL_NONE;
  huart4.Init.OverSampling = UART_OVERSAMPLING_16;
  huart4.Init.OneBitSampling = UART_ONE_BIT_SAMPLE_DISABLE;
  huart4.Init.ClockPrescaler = UART_PRESCALER_DIV1;
  huart4.AdvancedInit.AdvFeatureInit = UART_ADVFEATURE_NO_INIT;
  if (HAL_RS485Ex_Init(&huart4, UART_DE_POLARITY_HIGH, 0, 0) != HAL_OK)
  {
    Error_Handler();
  }
  if (HAL_UARTEx_SetTxFifoThreshold(&huart4, UART_TXFIFO_THRESHOLD_1_8) != HAL_OK)
  {
    Error_Handler();
  }
  if (HAL_UARTEx_SetRxFifoThreshold(&huart4, UART_RXFIFO_THRESHOLD_1_8) != HAL_OK)
  {
    Error_Handler();
  }
  if (HAL_UARTEx_DisableFifoMode(&huart4) != HAL_OK)
  {
    Error_Handler();
  }

}

static void MX_USART1_UART_Init(void)
{

  LL_USART_InitTypeDef USART_InitStruct = {0};

  LL_GPIO_InitTypeDef GPIO_InitStruct = {0};
  RCC_PeriphCLKInitTypeDef PeriphClkInit = {0};

  /** Initializes the peripherals clock
  */
  PeriphClkInit.PeriphClockSelection = RCC_PERIPHCLK_USART1;
  PeriphClkInit.Usart1ClockSelection = RCC_USART1CLKSOURCE_PCLK2;
  if (HAL_RCCEx_PeriphCLKConfig(&PeriphClkInit) != HAL_OK)
  {
    Error_Handler();
  }

  /* Peripheral clock enable */
  LL_APB2_GRP1_EnableClock(LL_APB2_GRP1_PERIPH_USART1);

  LL_AHB2_GRP1_EnableClock(LL_AHB2_GRP1_PERIPH_GPIOA);
  LL_AHB2_GRP1_EnableClock(LL_AHB2_GRP1_PERIPH_GPIOB);
  /**USART1 GPIO Configuration
  PA10   ------> USART1_RX
  PB6   ------> USART1_TX
  */
  GPIO_InitStruct.Pin = LOG_USART_RX_Pin;
  GPIO_InitStruct.Mode = LL_GPIO_MODE_ALTERNATE;
  GPIO_InitStruct.Speed = LL_GPIO_SPEED_FREQ_VERY_HIGH;
  GPIO_InitStruct.OutputType = LL_GPIO_OUTPUT_PUSHPULL;
  GPIO_InitStruct.Pull = LL_GPIO_PULL_DOWN;
  GPIO_InitStruct.Alternate = LL_GPIO_AF_7;
  LL_GPIO_Init(LOG_USART_RX_GPIO_Port, &GPIO_InitStruct);

  GPIO_InitStruct.Pin = LOG_USART_TX_Pin;
  GPIO_InitStruct.Mode = LL_GPIO_MODE_ALTERNATE;
  GPIO_InitStruct.Speed = LL_GPIO_SPEED_FREQ_VERY_HIGH;
  GPIO_InitStruct.OutputType = LL_GPIO_OUTPUT_PUSHPULL;
  GPIO_InitStruct.Pull = LL_GPIO_PULL_DOWN;
  GPIO_InitStruct.Alternate = LL_GPIO_AF_7;
  LL_GPIO_Init(LOG_USART_TX_GPIO_Port, &GPIO_InitStruct);

  /* USART1 interrupt Init */
  NVIC_SetPriority(USART1_IRQn, NVIC_EncodePriority(NVIC_GetPriorityGrouping(),15, 0));
  NVIC_EnableIRQ(USART1_IRQn);

  USART_InitStruct.PrescalerValue = LL_USART_PRESCALER_DIV1;
  USART_InitStruct.BaudRate = 115200;
  USART_InitStruct.DataWidth = LL_USART_DATAWIDTH_8B;
  USART_InitStruct.StopBits = LL_USART_STOPBITS_1;
  USART_InitStruct.Parity = LL_USART_PARITY_NONE;
  USART_InitStruct.TransferDirection = LL_USART_DIRECTION_TX_RX;
  USART_InitStruct.HardwareFlowControl = LL_USART_HWCONTROL_NONE;
  USART_InitStruct.OverSampling = LL_USART_OVERSAMPLING_16;
  LL_USART_Init(USART1, &USART_InitStruct);
  LL_USART_SetTXFIFOThreshold(USART1, LL_USART_FIFOTHRESHOLD_1_8);
  LL_USART_SetRXFIFOThreshold(USART1, LL_USART_FIFOTHRESHOLD_1_8);
  LL_USART_DisableFIFO(USART1);
  LL_USART_ConfigAsyncMode(USART1);
  LL_USART_Enable(USART1);

}

static void MX_USART2_UART_Init(void)
{

  huart2.Instance = USART2;
  huart2.Init.BaudRate = 115200;
  huart2.Init.WordLength = UART_WORDLENGTH_8B;
  huart2.Init.StopBits = UART_STOPBITS_1;
  huart2.Init.Parity = UART_PARITY_NONE;
  huart2.Init.Mode = UART_MODE_TX_RX;
  huart2.Init.HwFlowCtl = UART_HWCONTROL_NONE;
  huart2.Init.OverSampling = UART_OVERSAMPLING_16;
  huart2.Init.OneBitSampling = UART_ONE_BIT_SAMPLE_DISABLE;
  huart2.Init.ClockPrescaler = UART_PRESCALER_DIV1;
  huart2.AdvancedInit.AdvFeatureInit = UART_ADVFEATURE_NO_INIT;
  if (HAL_UART_Init(&huart2) != HAL_OK)
  {
    Error_Handler();
  }
  if (HAL_UARTEx_SetTxFifoThreshold(&huart2, UART_TXFIFO_THRESHOLD_1_8) != HAL_OK)
  {
    Error_Handler();
  }
  if (HAL_UARTEx_SetRxFifoThreshold(&huart2, UART_RXFIFO_THRESHOLD_1_8) != HAL_OK)
  {
    Error_Handler();
  }
  if (HAL_UARTEx_DisableFifoMode(&huart2) != HAL_OK)
  {
    Error_Handler();
  }

}

static void MX_USART3_UART_Init(void)
{

  huart3.Instance = USART3;
  huart3.Init.BaudRate = 115200;
  huart3.Init.WordLength = UART_WORDLENGTH_8B;
  huart3.Init.StopBits = UART_STOPBITS_1;
  huart3.Init.Parity = UART_PARITY_NONE;
  huart3.Init.Mode = UART_MODE_TX_RX;
  huart3.Init.HwFlowCtl = UART_HWCONTROL_NONE;
  huart3.Init.OverSampling = UART_OVERSAMPLING_16;
  huart3.Init.OneBitSampling = UART_ONE_BIT_SAMPLE_DISABLE;
  huart3.Init.ClockPrescaler = UART_PRESCALER_DIV1;
  huart3.AdvancedInit.AdvFeatureInit = UART_ADVFEATURE_NO_INIT;
  if (HAL_UART_Init(&huart3) != HAL_OK)
  {
    Error_Handler();
  }
  if (HAL_UARTEx_SetTxFifoThreshold(&huart3, UART_TXFIFO_THRESHOLD_1_8) != HAL_OK)
  {
    Error_Handler();
  }
  if (HAL_UARTEx_SetRxFifoThreshold(&huart3, UART_RXFIFO_THRESHOLD_1_8) != HAL_OK)
  {
    Error_Handler();
  }
  if (HAL_UARTEx_DisableFifoMode(&huart3) != HAL_OK)
  {
    Error_Handler();
  }

}

static void MX_USB_OTG_FS_PCD_Init(void)
{

  hpcd_USB_OTG_FS.Instance = USB_OTG_FS;
  hpcd_USB_OTG_FS.Init.dev_endpoints = 6;
  hpcd_USB_OTG_FS.Init.speed = PCD_SPEED_FULL;
  hpcd_USB_OTG_FS.Init.phy_itface = PCD_PHY_EMBEDDED;
  hpcd_USB_OTG_FS.Init.Sof_enable = DISABLE;
  hpcd_USB_OTG_FS.Init.low_power_enable = DISABLE;
  hpcd_USB_OTG_FS.Init.lpm_enable = DISABLE;
  hpcd_USB_OTG_FS.Init.battery_charging_enable = DISABLE;
  hpcd_USB_OTG_FS.Init.use_dedicated_ep1 = DISABLE;
  hpcd_USB_OTG_FS.Init.vbus_sensing_enable = DISABLE;
  hpcd_USB_OTG_FS.Init.dma_enable = DISABLE;
  if (HAL_PCD_Init(&hpcd_USB_OTG_FS) != HAL_OK)
  {
    Error_Handler();
  }

}

static void MX_GPIO_Init(void)
{
  LL_EXTI_InitTypeDef EXTI_InitStruct = {0};
  LL_GPIO_InitTypeDef GPIO_InitStruct = {0};

  /* GPIO Ports Clock Enable */
  LL_AHB2_GRP1_EnableClock(LL_AHB2_GRP1_PERIPH_GPIOC);
  LL_AHB2_GRP1_EnableClock(LL_AHB2_GRP1_PERIPH_GPIOH);
  LL_AHB2_GRP1_EnableClock(LL_AHB2_GRP1_PERIPH_GPIOA);
  LL_AHB2_GRP1_EnableClock(LL_AHB2_GRP1_PERIPH_GPIOB);

  /**/
  LL_GPIO_SetOutputPin(RS485_LED_GPIO_Port, RS485_LED_Pin);

  /**/
  LL_GPIO_SetOutputPin(RS232_LED_GPIO_Port, RS232_LED_Pin);

  /**/
  LL_GPIO_SetOutputPin(LED_MSG_GPIO_Port, LED_MSG_Pin);

  /**/
  LL_GPIO_ResetOutputPin(GPIOC, SPI_CS_Pin|WAKE_Pin);

  /**/
  LL_GPIO_ResetOutputPin(GPIOH, SPI2_CS_Pin|RESET_N_Pin);

  /**/
  LL_GPIO_ResetOutputPin(En_Ain1_GPIO_Port, En_Ain1_Pin);

  /**/
  GPIO_InitStruct.Pin = RS485_LED_Pin|SPI_CS_Pin|WAKE_Pin;
  GPIO_InitStruct.Mode = LL_GPIO_MODE_OUTPUT;
  GPIO_InitStruct.Speed = LL_GPIO_SPEED_FREQ_LOW;
  GPIO_InitStruct.OutputType = LL_GPIO_OUTPUT_PUSHPULL;
  GPIO_InitStruct.Pull = LL_GPIO_PULL_NO;
  LL_GPIO_Init(GPIOC, &GPIO_InitStruct);

  /**/
  GPIO_InitStruct.Pin = SPI2_CS_Pin|RESET_N_Pin;
  GPIO_InitStruct.Mode = LL_GPIO_MODE_OUTPUT;
  GPIO_InitStruct.Speed = LL_GPIO_SPEED_FREQ_LOW;
  GPIO_InitStruct.OutputType = LL_GPIO_OUTPUT_PUSHPULL;
  GPIO_InitStruct.Pull = LL_GPIO_PULL_NO;
  LL_GPIO_Init(GPIOH, &GPIO_InitStruct);

  /**/
  GPIO_InitStruct.Pin = En_Ain1_Pin|LED_MSG_Pin;
  GPIO_InitStruct.Mode = LL_GPIO_MODE_OUTPUT;
  GPIO_InitStruct.Speed = LL_GPIO_SPEED_FREQ_LOW;
  GPIO_InitStruct.OutputType = LL_GPIO_OUTPUT_PUSHPULL;
  GPIO_InitStruct.Pull = LL_GPIO_PULL_NO;
  LL_GPIO_Init(GPIOA, &GPIO_InitStruct);

  /**/
  GPIO_InitStruct.Pin = RS232_LED_Pin;
  GPIO_InitStruct.Mode = LL_GPIO_MODE_OUTPUT;
  GPIO_InitStruct.Speed = LL_GPIO_SPEED_FREQ_LOW;
  GPIO_InitStruct.OutputType = LL_GPIO_OUTPUT_PUSHPULL;
  GPIO_InitStruct.Pull = LL_GPIO_PULL_NO;
  LL_GPIO_Init(RS232_LED_GPIO_Port, &GPIO_InitStruct);

  /**/
  LL_EXTI_SetEXTISource(LL_EXTI_EXTI_PORTA, LL_EXTI_EXTI_LINE4);

  /**/
  LL_EXTI_SetEXTISource(LL_EXTI_EXTI_PORTB, LL_EXTI_EXTI_LINE1);

  /**/
  EXTI_InitStruct.Line_0_31 = LL_EXTI_LINE_4;
  EXTI_InitStruct.LineCommand = ENABLE;
  EXTI_InitStruct.Mode = LL_EXTI_MODE_IT;
  EXTI_InitStruct.Trigger = LL_EXTI_TRIGGER_RISING;
  LL_EXTI_Init(&EXTI_InitStruct);

  /**/
  EXTI_InitStruct.Line_0_31 = LL_EXTI_LINE_1;
  EXTI_InitStruct.LineCommand = ENABLE;
  EXTI_InitStruct.Mode = LL_EXTI_MODE_IT;
  EXTI_InitStruct.Trigger = LL_EXTI_TRIGGER_FALLING;
  LL_EXTI_Init(&EXTI_InitStruct);

  /**/
  LL_GPIO_SetPinPull(BUSY_GPIO_Port, BUSY_Pin, LL_GPIO_PULL_DOWN);

  /**/
  LL_GPIO_SetPinPull(SPI_IRQ_GPIO_Port, SPI_IRQ_Pin, LL_GPIO_PULL_NO);

  /**/
  LL_GPIO_SetPinMode(BUSY_GPIO_Port, BUSY_Pin, LL_GPIO_MODE_INPUT);

  /**/
  LL_GPIO_SetPinMode(SPI_IRQ_GPIO_Port, SPI_IRQ_Pin, LL_GPIO_MODE_INPUT);

  /* EXTI interrupt init*/
  NVIC_SetPriority(EXTI1_IRQn, NVIC_EncodePriority(NVIC_GetPriorityGrouping(),15, 0));
  NVIC_SetPriority(EXTI4_IRQn, NVIC_EncodePriority(NVIC_GetPriorityGrouping(),15, 0));

}

/* USER CODE BEGIN 4 */

#ifdef CFG_ENABLE
/**
  * @brief UART4 Initialization Function
  * @param None
  * @retval None
  */
static void MODBUS_UART4_Init(void)
{
  char buf[BUFFER_SIZE];

  if(config_read_str_of_dev(CLI_SET_BAUDRATE, buf, BUFFER_SIZE, "1") > 0 && isValidBaudrate(buf, strlen(buf)))
    huart4.Init.BaudRate = atoi(buf);
  else
    huart4.Init.BaudRate =  atoi(DEFAULT_BAUDRATE);

  if(config_read_str_of_dev(CLI_SET_DATA_BIT, buf, BUFFER_SIZE, "1") > 0 && isValidDataBit(buf, strlen(buf)))
    huart4.Init.WordLength = strncmp(buf, "7", 1) == 0 ? UART_WORDLENGTH_7B : strncmp(buf, "8", 1) == 0 ? UART_WORDLENGTH_8B : UART_WORDLENGTH_9B;
  else
    huart4.Init.WordLength = UART_WORDLENGTH_8B;

  if(config_read_str_of_dev(CLI_SET_STOP_BIT, buf, BUFFER_SIZE, "1") > 0 && isValidStopBit(buf, strlen(buf)))
    huart4.Init.StopBits = strncmp(buf, "1.5", 3) == 0 ? UART_STOPBITS_1_5 : strncmp(buf, "1", 1) == 0 ? UART_STOPBITS_1 : UART_STOPBITS_2;
  else
    huart4.Init.StopBits = UART_STOPBITS_1;

  if(config_read_str_of_dev(CLI_SET_PARITY_BIT, buf, BUFFER_SIZE, "1") > 0 && isValidParityBit(buf, strlen(buf)))
    huart4.Init.Parity = strncmp(buf, "none", 4) == 0 ? UART_PARITY_NONE : strncmp(buf, "even", 4) == 0 ? UART_PARITY_EVEN : UART_PARITY_ODD;
  else
    huart4.Init.Parity = UART_PARITY_NONE;

  huart4.Instance = UART4;
  huart4.Init.Mode = UART_MODE_TX_RX;
  huart4.Init.HwFlowCtl = UART_HWCONTROL_NONE;
  huart4.Init.OverSampling = UART_OVERSAMPLING_16;
  huart4.Init.OneBitSampling = UART_ONE_BIT_SAMPLE_DISABLE;
  huart4.Init.ClockPrescaler = UART_PRESCALER_DIV1;
  huart4.AdvancedInit.AdvFeatureInit = UART_ADVFEATURE_NO_INIT;
  if (HAL_RS485Ex_Init(&huart4, UART_DE_POLARITY_HIGH, 0, 0) != HAL_OK)
  {
    Error_Handler();
  }
  if (HAL_UARTEx_SetTxFifoThreshold(&huart4, UART_TXFIFO_THRESHOLD_1_8) != HAL_OK)
  {
    Error_Handler();
  }
  if (HAL_UARTEx_SetRxFifoThreshold(&huart4, UART_RXFIFO_THRESHOLD_1_8) != HAL_OK)
  {
    Error_Handler();
  }
  if (HAL_UARTEx_DisableFifoMode(&huart4) != HAL_OK)
  {
    Error_Handler();
  }
}

/**
  * @brief USART3 Initialization Function
  * @param None
  * @retval None
  */
static void MODBUS_USART3_UART_Init(void)
{
char buf[BUFFER_SIZE];

  if(config_read_str_of_dev(CLI_SET_BAUDRATE, buf, BUFFER_SIZE, "2") > 0 && isValidBaudrate(buf, strlen(buf)))
    huart3.Init.BaudRate = atoi(buf);
  else
    huart3.Init.BaudRate =  atoi(DEFAULT_BAUDRATE);

  if(config_read_str_of_dev(CLI_SET_DATA_BIT, buf, BUFFER_SIZE, "2") > 0 && isValidDataBit(buf, strlen(buf)))
    huart3.Init.WordLength = strncmp(buf, "7", 1) == 0 ? UART_WORDLENGTH_7B : strncmp(buf, "8", 1) == 0 ? UART_WORDLENGTH_8B : UART_WORDLENGTH_9B;
  else
    huart3.Init.WordLength = UART_WORDLENGTH_8B;

  if(config_read_str_of_dev(CLI_SET_STOP_BIT, buf, BUFFER_SIZE, "2") > 0 && isValidStopBit(buf, strlen(buf)))
    huart3.Init.StopBits = strncmp(buf, "1.5", 3) == 0 ? UART_STOPBITS_1_5 : strncmp(buf, "1", 1) == 0 ? UART_STOPBITS_1 : UART_STOPBITS_2;
  else
    huart3.Init.StopBits = UART_STOPBITS_1;

  if(config_read_str_of_dev(CLI_SET_PARITY_BIT, buf, BUFFER_SIZE, "2") > 0 && isValidParityBit(buf, strlen(buf)))
    huart3.Init.Parity = strncmp(buf, "none", 4) == 0 ? UART_PARITY_NONE : strncmp(buf, "even", 4) == 0 ? UART_PARITY_EVEN : UART_PARITY_ODD;
  else
    huart3.Init.Parity = UART_PARITY_NONE;

  huart3.Instance = USART3;
  huart3.Init.Mode = UART_MODE_TX_RX;
  huart3.Init.HwFlowCtl = UART_HWCONTROL_NONE;
  huart3.Init.OverSampling = UART_OVERSAMPLING_16;
  huart3.Init.OneBitSampling = UART_ONE_BIT_SAMPLE_DISABLE;
  huart3.Init.ClockPrescaler = UART_PRESCALER_DIV1;
  huart3.AdvancedInit.AdvFeatureInit = UART_ADVFEATURE_NO_INIT;
  if (HAL_UART_Init(&huart3) != HAL_OK)
  {
    Error_Handler();
  }
  if (HAL_UARTEx_SetTxFifoThreshold(&huart3, UART_TXFIFO_THRESHOLD_1_8) != HAL_OK)
  {
    Error_Handler();
  }
  if (HAL_UARTEx_SetRxFifoThreshold(&huart3, UART_RXFIFO_THRESHOLD_1_8) != HAL_OK)
  {
    Error_Handler();
  }
  if (HAL_UARTEx_DisableFifoMode(&huart3) != HAL_OK)
  {
    Error_Handler();
  }
}

#endif

/* USER CODE END 4 */

void HAL_TIM_PeriodElapsedCallback(TIM_HandleTypeDef *htim)
{
  if (htim->Instance == TIM1)
  {
    HAL_IncTick();
  }
}

void Error_Handler(void)
{
  __disable_irq();
  while (1)
  {
  }
}
